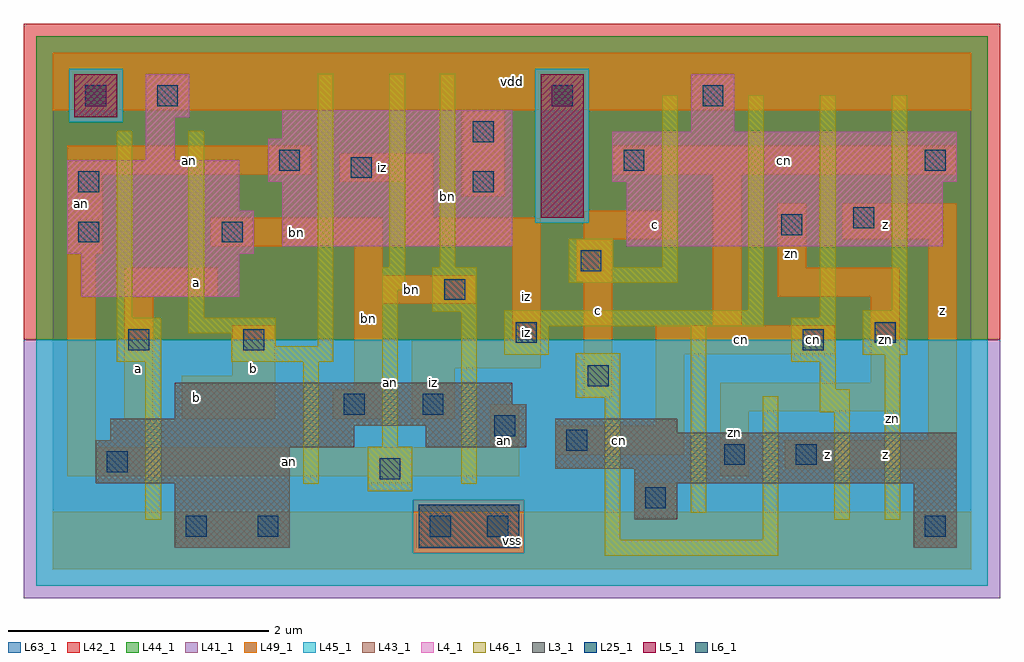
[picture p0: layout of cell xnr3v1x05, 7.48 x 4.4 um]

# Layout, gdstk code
import gdstk
lib = gdstk.Library(unit=1e-6, precision=1e-09)
def R(c, l, rs):  # rectangles x0, y0, x1, y1
    for r in rs: c.add(gdstk.rectangle(r[:2], r[2:], *l))
L3_1 = (3, 1)
L4_1 = (4, 1)
L5_1 = (5, 1)
L6_1 = (6, 1)
L25_1 = (25, 1)
L41_1 = (41, 1)
L42_1 = (42, 1)
L43_1 = (43, 1)
L44_1 = (44, 1)
L45_1 = (45, 1)
L46_1 = (46, 1)
L49_1 = (49, 1)
L63_1 = (63, 1)

xnr3v1x05 = lib.new_cell('xnr3v1x05')
R(xnr3v1x05, L3_1, [(0.935,0.165,1.815,0.66), (6.6,0.165,6.93,0.66), (4.455,0.385,4.785,0.66), (0.33,0.66,1.815,0.935), (4.455,0.66,6.93,0.77), (3.85,0.77,6.93,1.045), (0.33,0.935,2.31,0.99), (2.86,0.935,3.63,1.1), (0.44,0.99,2.31,1.1), (3.85,1.045,4.785,1.155), (0.44,1.1,3.63,1.155), (0.935,1.155,3.63,1.265), (0.935,1.265,3.52,1.43)])
R(xnr3v1x05, L4_1, [(0.22,2.09,1.43,2.42), (0.11,2.42,1.54,2.75), (1.76,2.475,3.52,2.97), (4.4,2.475,6.82,2.97), (0.11,2.75,1.43,3.135), (1.65,2.97,3.52,3.3), (4.29,2.97,6.93,3.355), (0.715,3.135,0.935,3.465), (1.76,3.3,3.52,3.52), (4.895,3.355,5.225,3.795), (0.715,3.465,1.045,3.795)])
R(xnr3v1x05, L5_1, [(3.74,2.695,4.07,3.795), (0.165,3.465,0.495,3.795)])
R(xnr3v1x05, L6_1, [(2.805,0.165,3.575,0.495)])
R(xnr3v1x05, L25_1, [(1.02,0.25,1.18,0.41), (1.57,0.25,1.73,0.41), (2.89,0.25,3.05,0.41), (3.33,0.25,3.49,0.41), (6.685,0.25,6.845,0.41), (4.54,0.47,4.7,0.63), (2.505,0.69,2.665,0.85), (0.415,0.745,0.575,0.905), (5.145,0.8,5.305,0.96), (5.695,0.8,5.855,0.96), (3.935,0.91,4.095,1.07), (3.385,1.02,3.545,1.18), (2.23,1.185,2.39,1.345), (2.835,1.185,2.995,1.345), (4.1,1.405,4.26,1.565), (0.58,1.68,0.74,1.84), (1.46,1.68,1.62,1.84), (5.75,1.68,5.91,1.84), (3.55,1.735,3.71,1.895), (6.3,1.735,6.46,1.895), (3,2.065,3.16,2.225), (4.045,2.285,4.205,2.445), (0.195,2.505,0.355,2.665), (1.295,2.505,1.455,2.665), (5.585,2.56,5.745,2.72), (6.135,2.615,6.295,2.775), (0.195,2.89,0.355,3.05), (3.22,2.89,3.38,3.05), (2.285,3,2.445,3.16), (1.735,3.055,1.895,3.215), (4.375,3.055,4.535,3.215), (6.685,3.055,6.845,3.215), (3.22,3.275,3.38,3.435), (0.25,3.55,0.41,3.71), (0.8,3.55,0.96,3.71), (3.825,3.55,3.985,3.71), (4.98,3.55,5.14,3.71)])
R(xnr3v1x05, L41_1, [(-0.22,-0.22,7.26,1.76)])
R(xnr3v1x05, L42_1, [(-0.22,1.76,7.26,4.18)])
R(xnr3v1x05, L43_1, [(0.935,0.165,1.815,0.66), (2.805,0.165,3.575,0.495), (6.6,0.165,6.93,0.66), (4.455,0.385,4.785,0.66), (0.33,0.66,1.815,0.935), (4.455,0.66,6.93,0.77), (3.85,0.77,6.93,1.045), (0.33,0.935,2.31,0.99), (2.86,0.935,3.63,1.1), (0.44,0.99,2.31,1.1), (3.85,1.045,4.785,1.155), (0.44,1.1,3.63,1.155), (0.935,1.155,3.63,1.265), (0.935,1.265,3.52,1.43), (0.22,2.09,1.43,2.42), (0.11,2.42,1.54,2.75), (1.76,2.475,3.52,2.97), (4.4,2.475,6.82,2.97), (3.74,2.695,4.07,3.795), (0.11,2.75,1.43,3.135), (1.65,2.97,3.52,3.3), (4.29,2.97,6.93,3.355), (0.715,3.135,0.935,3.465), (1.76,3.3,3.52,3.52), (4.895,3.355,5.225,3.795), (0.165,3.465,0.495,3.795), (0.715,3.465,1.045,3.795)])
R(xnr3v1x05, L44_1, [(2.765,0.125,3.615,0.535), (-0.125,1.76,7.165,2.655), (-0.125,2.655,3.7,3.425), (4.11,2.655,7.165,3.835), (-0.125,3.425,0.125,3.835), (0.535,3.425,3.7,3.835), (-0.125,3.835,7.165,4.085)])
R(xnr3v1x05, L45_1, [(-0.125,-0.125,7.165,0.125), (-0.125,0.125,2.765,0.535), (3.615,0.125,7.165,0.535), (-0.125,0.535,7.165,1.76), (3.7,2.655,4.11,3.835), (0.125,3.425,0.535,3.835)])
R(xnr3v1x05, L46_1, [(4.23,0.105,5.56,0.225), (4.23,0.225,4.35,1.315), (5.44,0.225,5.56,1.325), (0.71,0.38,0.83,1.59), (5.99,0.38,6.11,1.205), (6.375,0.38,6.495,1.645), (4.89,0.435,5.01,1.865), (2.415,0.6,2.755,0.94), (1.92,0.655,2.04,1.59), (3.13,0.655,3.25,1.975), (2.525,0.94,2.645,2.14), (5.88,1.205,6.11,1.38), (4.01,1.315,4.35,1.655), (5.88,1.38,6,1.59), (0.49,1.59,0.83,1.93), (1.37,1.59,2.15,1.71), (5.66,1.59,6,1.93), (3.46,1.645,3.8,1.865), (6.21,1.645,6.55,1.985), (1.37,1.71,1.71,1.81), (2.03,1.71,2.15,3.8), (1.04,1.81,1.71,1.93), (3.46,1.865,5.45,1.985), (0.49,1.93,0.61,3.36), (1.04,1.93,1.16,3.36), (5.88,1.93,6,3.635), (2.91,1.975,3.25,2.315), (5.33,1.985,5.45,3.635), (6.43,1.985,6.55,3.635), (2.525,2.14,2.7,2.315), (3.955,2.195,4.79,2.315), (2.58,2.315,2.7,3.8), (2.965,2.315,3.085,3.8), (3.955,2.315,4.295,2.535), (4.67,2.315,4.79,3.635)])
R(xnr3v1x05, L49_1, [(0,0,7.04,0.44), (4.455,0.44,4.785,0.66), (2.42,0.66,2.75,0.715), (0.11,0.715,3.575,0.935), (5.115,0.715,5.335,1.21), (5.61,0.77,6.93,0.99), (3.85,0.88,4.84,1.1), (0.11,0.935,0.33,2.42), (3.355,0.935,3.575,1.265), (6.71,0.99,6.93,2.53), (4.62,1.1,4.84,1.65), (0.55,1.155,0.77,2.09), (0.99,1.155,1.705,1.485), (2.145,1.155,2.53,1.375), (2.75,1.155,3.08,1.54), (5.115,1.21,6.49,1.43), (4.07,1.32,4.29,2.2), (2.31,1.375,2.53,2.035), (6.27,1.43,6.49,2.09), (1.375,1.485,1.705,1.87), (2.75,1.54,3.74,1.76), (4.62,1.65,5.995,1.87), (3.52,1.76,3.74,2.475), (5.06,1.87,5.28,3.025), (2.31,2.035,3.245,2.255), (0.55,2.09,1.265,2.31), (5.555,2.09,6.49,2.31), (4.015,2.2,4.29,2.53), (2.31,2.255,2.53,2.475), (5.555,2.31,5.775,2.805), (0.11,2.42,0.385,3.025), (1.21,2.475,2.53,2.695), (2.695,2.475,3.74,2.695), (4.07,2.53,4.785,2.75), (6.05,2.53,6.93,2.805), (2.695,2.695,2.915,2.97), (3.135,2.86,3.465,3.52), (2.2,2.97,2.915,3.19), (0.11,3.025,1.98,3.245), (4.29,3.025,6.93,3.245), (0,3.52,7.04,3.96)])
R(xnr3v1x05, L63_1, [(0,0,7.04,3.96)])
xnr3v1x05.add(gdstk.Label('an', (2.585,1.43), layer=46, texttype=1))
xnr3v1x05.add(gdstk.Label('bn', (3.025,2.86), layer=46, texttype=1))
xnr3v1x05.add(gdstk.Label('iz', (3.63,1.815), layer=49, texttype=1))
xnr3v1x05.add(gdstk.Label('cn', (5.83,1.76), layer=49, texttype=1))
xnr3v1x05.add(gdstk.Label('zn', (6.435,1.155), layer=46, texttype=1))
xnr3v1x05.add(gdstk.Label('b', (1.1,1.32), layer=49, texttype=1))
xnr3v1x05.add(gdstk.Label('a', (0.66,1.54), layer=49, texttype=1))
xnr3v1x05.add(gdstk.Label('a', (1.1,2.2), layer=49, texttype=1))
xnr3v1x05.add(gdstk.Label('an', (0.22,2.805), layer=49, texttype=1))
xnr3v1x05.add(gdstk.Label('b', (1.54,1.54), layer=49, texttype=1))
xnr3v1x05.add(gdstk.Label('bn', (2.42,1.925), layer=49, texttype=1))
xnr3v1x05.add(gdstk.Label('bn', (1.87,2.585), layer=49, texttype=1))
xnr3v1x05.add(gdstk.Label('an', (1.045,3.135), layer=49, texttype=1))
xnr3v1x05.add(gdstk.Label('vss', (3.52,0.22), layer=49, texttype=1))
xnr3v1x05.add(gdstk.Label('an', (3.465,0.99), layer=49, texttype=1))
xnr3v1x05.add(gdstk.Label('an', (1.815,0.825), layer=49, texttype=1))
xnr3v1x05.add(gdstk.Label('iz', (2.915,1.43), layer=49, texttype=1))
xnr3v1x05.add(gdstk.Label('bn', (2.75,2.145), layer=49, texttype=1))
xnr3v1x05.add(gdstk.Label('iz', (3.63,2.09), layer=49, texttype=1))
xnr3v1x05.add(gdstk.Label('iz', (2.53,3.08), layer=49, texttype=1))
xnr3v1x05.add(gdstk.Label('vdd', (3.52,3.74), layer=49, texttype=1))
xnr3v1x05.add(gdstk.Label('zn', (5.225,1.045), layer=49, texttype=1))
xnr3v1x05.add(gdstk.Label('cn', (4.345,0.99), layer=49, texttype=1))
xnr3v1x05.add(gdstk.Label('c', (4.18,1.98), layer=49, texttype=1))
xnr3v1x05.add(gdstk.Label('c', (4.62,2.64), layer=49, texttype=1))
xnr3v1x05.add(gdstk.Label('z', (5.94,0.88), layer=49, texttype=1))
xnr3v1x05.add(gdstk.Label('z', (6.38,0.88), layer=49, texttype=1))
xnr3v1x05.add(gdstk.Label('zn', (6.38,1.76), layer=49, texttype=1))
xnr3v1x05.add(gdstk.Label('cn', (5.28,1.76), layer=49, texttype=1))
xnr3v1x05.add(gdstk.Label('z', (6.82,1.98), layer=49, texttype=1))
xnr3v1x05.add(gdstk.Label('zn', (5.665,2.42), layer=49, texttype=1))
xnr3v1x05.add(gdstk.Label('z', (6.38,2.64), layer=49, texttype=1))
xnr3v1x05.add(gdstk.Label('cn', (5.61,3.135), layer=49, texttype=1))

lib.write_gds('xnr3v1x05.gds')
